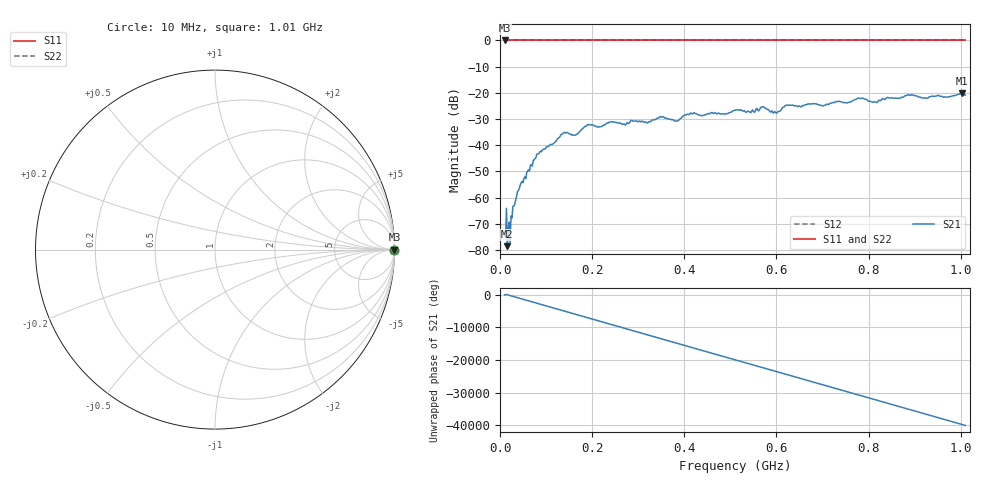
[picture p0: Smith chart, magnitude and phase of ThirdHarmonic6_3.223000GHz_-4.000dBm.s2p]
! 8/17/2025 9:50:41 AM
! C:\ANRITSUVNA\TEMP\TEMP.S2P
! CHANNEL.1
! TR.MEASUREMENT
! RAW.DATA
! RF.CORRECTION.OFF
! AVERAGING.OFF
! IF.BANDWIDTH: 5KHZ
! SWEEPTYPE:  FREQ.SWEEP(Linear)
! Reference Plane Port Info
! PORT:  PORT1  PORT2
! DISTANCE:  0  m  0  m
! TIME:  0  s  0  s
! PHASE.OFFSET:  0  deg.  0  deg.
! LOSS:  0  dB  0  dB
! REF.LOSS:  0  dB  0  dB
! REF.FREQ:  0  Hz  0  Hz
! Power Info
! POWER:  -20  dBm  -20  dBm
! EFF.POWER:  -20  dBm  -20  dBm
! SOURCE.ATTEN:  0  dB  0  dB
! TEST.ATTEN:  0  dB  0  dB
# GHZ S RI R 50.0
! FREQ.GHZ  S11RE  S11IM  S21RE  S21IM  S12RE  S12IM  S22RE  S22IM
!; PortSelection: Port_12
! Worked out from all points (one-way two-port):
!   501 points, 10 MHz to 1.01 GHz, reference 50 ohm
!   highest |S21| = -20.17 dB at 1.002 GHz (marker M1); lowest = -78.5 dB at 16 MHz (marker M2)
!   lowest |S11| = 0.0 dB at 10 MHz (marker M3)
!   |S11| at or under -10 dB: nowhere
!   |S22| runs from 0.0 to 0.0 dB; largest |S21 - S12| = 1.1
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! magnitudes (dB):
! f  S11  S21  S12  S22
! 10 MHz  0.0  -73.2  0.0  0.0
! 16 MHz  0.0  -78.5  0.0  0.0
! 20 MHz  0.0  -69.3  0.0  0.0
! 28 MHz  0.0  -63.3  0.0  0.0
! 42 MHz  0.0  -56.4  0.0  0.0
! 84 MHz  0.0  -43.3  0.0  0.0
! 136 MHz  0.0  -35.7  0.0  0.0
! 162 MHz  0.0  -36.2  0.0  0.0
! 178 MHz  0.0  -33.8  0.0  0.0
! 192 MHz  0.0  -32.2  0.0  0.0
! 322 MHz  0.0  -31.2  0.0  0.0
! 344 MHz  0.0  -29.6  0.0  0.0
! 384 MHz  0.0  -30.7  0.0  0.0
! 418 MHz  0.0  -28.0  0.0  0.0
! 510 MHz  0.0  -26.6  0.0  0.0
! 570 MHz  0.0  -25.3  0.0  0.0
! 598 MHz  0.0  -27.5  0.0  0.0
! 622 MHz  0.0  -24.7  0.0  0.0
! 678 MHz  0.0  -24.2  0.0  0.0
! 844 MHz  0.0  -21.9  0.0  0.0
! 1.002 GHz  0.0  -20.2  0.0  0.0
! 1.01 GHz  0.0  -20.8  0.0  0.0
